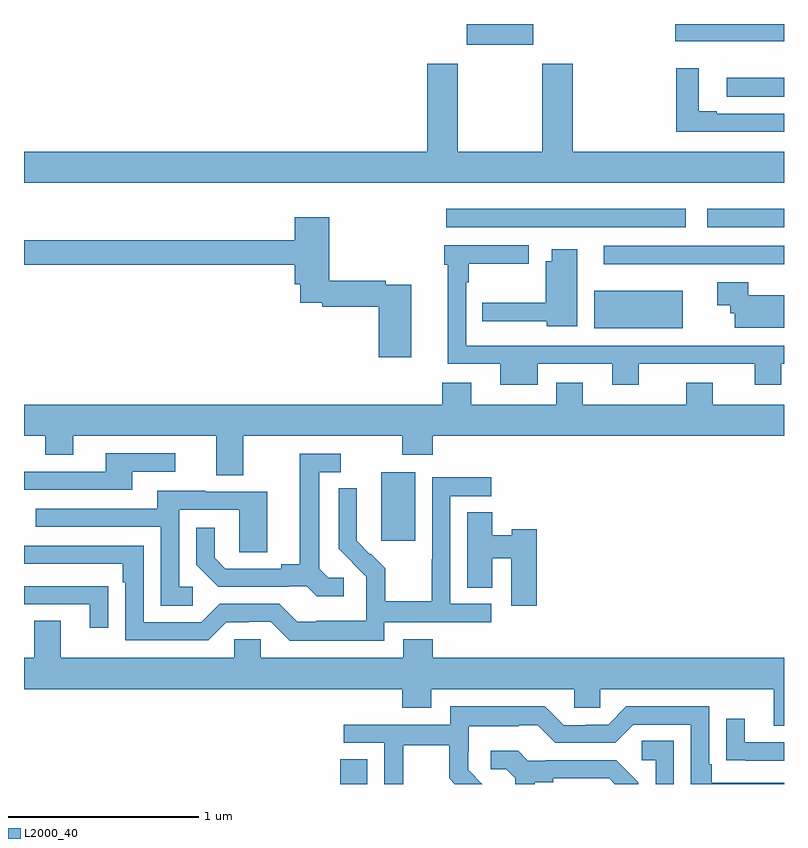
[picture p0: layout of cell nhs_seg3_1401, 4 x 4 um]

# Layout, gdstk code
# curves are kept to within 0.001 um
import gdstk
lib = gdstk.Library(unit=1e-6, precision=1e-09)
def R(c, l, rs):  # rectangles x0, y0, x1, y1
    for r in rs: c.add(gdstk.rectangle(r[:2], r[2:], *l))
def P(c, l, *ps):  # polygons
    for p in ps: c.add(gdstk.Polygon(p, *l))
L2000_40 = (2000, 40)

nhs_seg3_1401 = lib.new_cell('nhs_seg3_1401')
R(nhs_seg3_1401, L2000_40, [(184.664,716.4,184.807,716.531), (184.88,717.681,185.059,718.042), (186.002,718.799,186.466,718.996), (185.223,719.331,186.484,719.428), (186.597,719.331,187,719.428), (186.699,720.018,187,720.116), (185.33,720.29,185.68,720.4), (186.428,720.308,187,720.4)])
P(nhs_seg3_1401, L2000_40, [(187,719.728),(185.888,719.728),(185.888,720.19),(185.728,720.19),(185.728,719.728),(185.283,719.728),(185.283,720.19),(185.123,720.19),(185.123,719.728),(183,719.728),(183,719.564),(187,719.564)],
  [(187,719.928),(186.646,719.928),(186.646,719.941),(186.55,719.941),(186.55,720.166),(186.433,720.166),(186.433,719.832),(187,719.832)],
  [(185.038,719.028),(184.904,719.028),(184.904,719.048),(184.607,719.048),(184.607,719.383),(184.424,719.383),(184.424,719.263),(183,719.263),(183,719.134),(184.424,719.134),(184.424,719.03),(184.454,719.03),(184.454,718.932),(184.57,718.932),(184.57,718.912),(184.868,718.912),(184.868,718.647),(185.038,718.647)],
  [(185.704,718.611),(186.095,718.611),(186.095,718.502),(186.235,718.502),(186.235,718.611),(186.845,718.611),(186.845,718.502),(186.985,718.502),(186.985,718.611),(187,718.611),(187,718.707),(185.328,718.707),(185.328,719.042),(185.341,719.042),(185.341,719.138),(185.656,719.138),(185.656,719.235),(185.212,719.235),(185.212,719.132),(185.231,719.132),(185.231,718.611),(185.507,718.611),(185.507,718.502),(185.704,718.502)],
  [(186.462,719.136),(187,719.136),(187,719.232),(186.051,719.232),(186.051,719.135),(186.462,719.135)],
  [(185.911,719.215),(185.777,719.215),(185.777,719.152),(185.747,719.152),(185.747,718.934),(185.413,718.934),(185.413,718.836),(185.751,718.836),(185.751,718.808),(185.911,718.808)],
  [(187,718.972),(186.813,718.972),(186.813,719.041),(186.648,719.041),(186.648,718.919),(186.717,718.919),(186.717,718.878),(186.74,718.878),(186.74,718.802),(187,718.802)],
  [(184.153,718.232),(184.99,718.232),(184.99,718.133),(185.15,718.133),(185.15,718.232),(187,718.232),(187,718.396),(186.625,718.396),(186.625,718.513),(186.485,718.513),(186.485,718.396),(185.941,718.396),(185.941,718.513),(185.801,718.513),(185.801,718.396),(185.353,718.396),(185.353,718.513),(185.201,718.513),(185.201,718.396),(183,718.396),(183,718.232),(183.112,718.232),(183.112,718.133),(183.259,718.133),(183.259,718.232),(184.013,718.232),(184.013,718.024),(184.153,718.024)],
  [(183.571,718.044),(183.796,718.044),(183.796,718.14),(183.431,718.14),(183.431,718.044),(183,718.044),(183,717.948),(183.571,717.948)],
  [(184.684,717.486),(184.602,717.486),(184.555,717.533),(184.555,718.041),(184.666,718.041),(184.666,718.137),(184.451,718.137),(184.451,717.557),(184.355,717.557),(184.355,717.534),(184.06,717.534),(184.003,717.591),(184.003,717.748),(183.906,717.748),(183.906,717.554),(184.022,717.438),(184.394,717.438),(184.394,717.441),(184.488,717.441),(184.54,717.389),(184.684,717.389)],
  [(184.896,717.252),(185.458,717.252),(185.458,717.348),(185.244,717.348),(185.244,717.915),(185.458,717.915),(185.458,718.014),(185.148,718.014),(185.148,717.584),(185.146,717.584),(185.146,717.361),(184.901,717.361),(184.901,717.535),(184.824,717.612),(184.821,717.609),(184.751,717.68),(184.752,717.956),(184.656,717.956),(184.656,717.638),(184.802,717.49),(184.802,717.393),(184.8,717.393),(184.8,717.259),(184.537,717.259),(184.537,717.255),(184.437,717.255),(184.344,717.348),(184.029,717.348),(183.933,717.252),(183.63,717.252),(183.63,717.654),(183,717.654),(183,717.558),(183.521,717.558),(183.521,717.461),(183.534,717.461),(183.534,717.156),(183.969,717.156),(184.065,717.252),(184.184,717.252),(184.184,717.255),(184.299,717.255),(184.399,717.155),(184.896,717.155)],
  [(183.889,717.438),(183.816,717.438),(183.816,717.843),(184.134,717.843),(184.134,717.619),(184.279,717.619),(184.279,717.939),(183.955,717.939),(183.955,717.943),(183.701,717.943),(183.701,717.849),(183.061,717.849),(183.061,717.753),(183.72,717.753),(183.72,717.337),(183.889,717.337)],
  [(185.699,717.74),(185.568,717.74),(185.568,717.709),(185.464,717.709),(185.464,717.83),(185.333,717.83),(185.333,717.433),(185.464,717.433),(185.464,717.587),(185.564,717.587),(185.564,717.339),(185.699,717.339)],
  [(183.443,717.44),(183.341,717.44),(183.341,717.441),(183,717.441),(183,717.345),(183.347,717.345),(183.347,717.222),(183.443,717.222)],
  [(187,717.064),(185.15,717.064),(185.15,717.163),(184.997,717.163),(184.997,717.064),(184.245,717.064),(184.245,717.162),(184.107,717.162),(184.107,717.064),(183.193,717.064),(183.193,717.259),(183.053,717.259),(183.053,717.064),(183,717.064),(183,716.9),(184.991,716.9),(184.991,716.801),(185.143,716.801),(185.143,716.9),(185.895,716.9),(185.895,716.802),(186.033,716.802),(186.033,716.9),(186.947,716.9),(186.947,716.706),(187,716.706)],
  [(184.995,716.604),(185.239,716.604),(185.239,716.429),(185.268,716.4),(185.412,716.4),(185.338,716.474),(185.338,716.571),(185.34,716.571),(185.34,716.705),(185.603,716.705),(185.603,716.709),(185.703,716.709),(185.796,716.616),(186.111,716.616),(186.207,716.712),(186.51,716.712),(186.51,716.4),(187,716.4),(187,716.406),(186.619,716.406),(186.619,716.503),(186.606,716.503),(186.606,716.808),(186.171,716.808),(186.075,716.712),(185.957,716.712),(185.957,716.709),(185.841,716.709),(185.741,716.809),(185.244,716.809),(185.244,716.712),(184.683,716.712),(184.683,716.616),(184.896,716.616),(184.896,716.4),(184.995,716.4)],
  [(187,716.619),(186.793,716.619),(186.793,716.743),(186.697,716.743),(186.697,716.524),(186.799,716.524),(186.799,716.523),(187,716.523)],
  [(186.42,716.627),(186.252,716.627),(186.252,716.526),(186.324,716.526),(186.324,716.4),(186.42,716.4)],
  [(185.689,716.408),(185.785,716.408),(185.785,716.43),(186.08,716.43),(186.11,716.4),(186.234,716.4),(186.234,716.41),(186.118,716.526),(185.746,716.526),(185.746,716.523),(185.652,716.523),(185.6,716.575),(185.457,716.575),(185.457,716.478),(185.538,716.478),(185.585,716.431),(185.585,716.4),(185.689,716.4)])

lib.write_gds('nhs_seg3_1401.gds')
